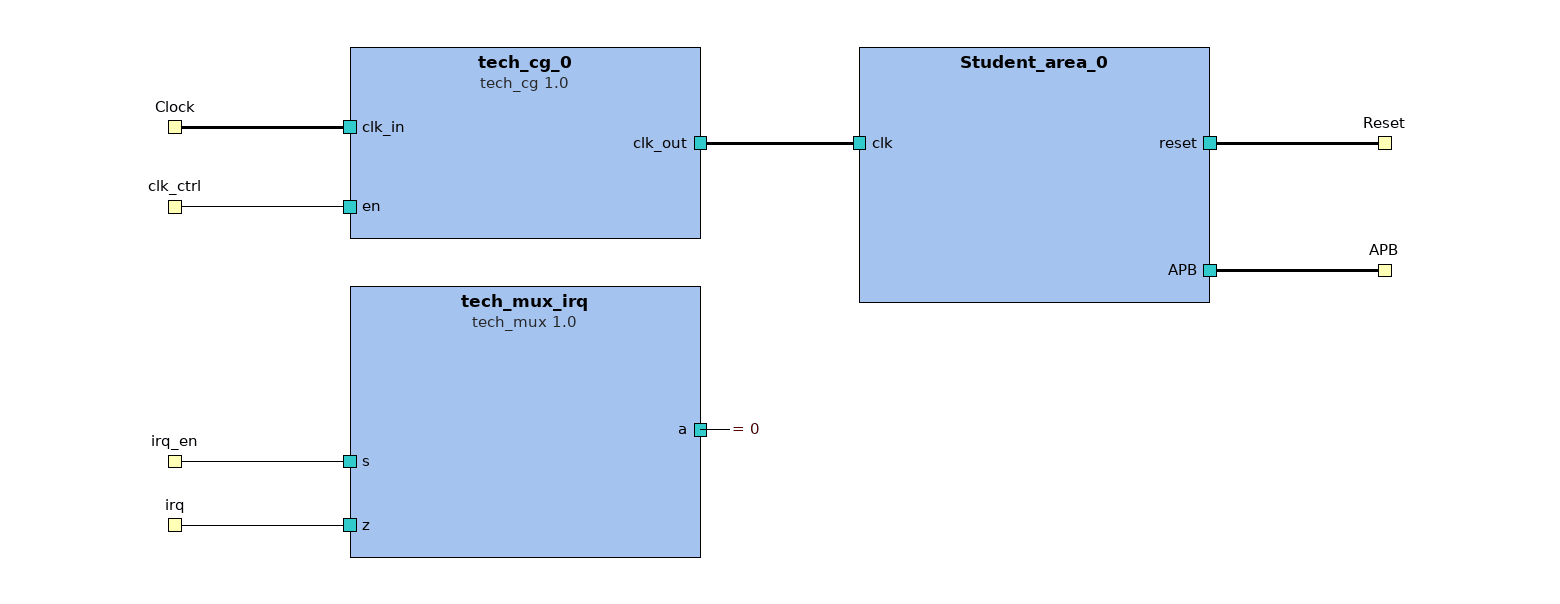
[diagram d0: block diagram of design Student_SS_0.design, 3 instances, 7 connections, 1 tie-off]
<?xml version="1.0" encoding="UTF-8"?>
<ipxact:design xmlns:xsi="http://www.w3.org/2001/XMLSchema-instance" xmlns:ipxact="http://www.accellera.org/XMLSchema/IPXACT/1685-2022" xmlns:kactus2="http://kactus2.cs.tut.fi" xsi:schemaLocation="http://www.accellera.org/XMLSchema/IPXACT/1685-2022 http://www.accellera.org/XMLSchema/IPXACT/1685-2022/index.xsd"><ipxact:vendor>tuni.fi</ipxact:vendor><ipxact:library>subsystem.wrapper</ipxact:library>
 <ipxact:name>Student_SS_0.design</ipxact:name><ipxact:version>1.0</ipxact:version><ipxact:componentInstances>
 <ipxact:componentInstance><ipxact:instanceName>Student_area_0</ipxact:instanceName><ipxact:componentRef vendor="" library="" name="" version=""/></ipxact:componentInstance>
 <ipxact:componentInstance><ipxact:instanceName>tech_cg_0</ipxact:instanceName><ipxact:componentRef vendor="tuni.fi" library="tech" name="tech_cg" version="1.0"/></ipxact:componentInstance>
 <ipxact:componentInstance><ipxact:instanceName>tech_mux_irq</ipxact:instanceName><ipxact:componentRef vendor="tuni.fi" library="tech" name="tech_mux" version="1.0"/></ipxact:componentInstance>
</ipxact:componentInstances><ipxact:interconnections>
 <ipxact:interconnection><ipxact:name>tech_cg_0_clk_in_to_Clock</ipxact:name><ipxact:activeInterface componentInstanceRef="tech_cg_0" busRef="clk_in"/><ipxact:hierInterface busRef="Clock"/></ipxact:interconnection>
 <ipxact:interconnection><ipxact:name>tech_cg_0_clk_out_to_Student_area_0_clk</ipxact:name><ipxact:activeInterface componentInstanceRef="tech_cg_0" busRef="clk_out"/><ipxact:activeInterface componentInstanceRef="Student_area_0" busRef="clk"/></ipxact:interconnection>
 <ipxact:interconnection><ipxact:name>Student_area_0_APB_to_APB</ipxact:name><ipxact:activeInterface componentInstanceRef="Student_area_0" busRef="APB"/><ipxact:hierInterface busRef="APB"/></ipxact:interconnection>
 <ipxact:interconnection><ipxact:name>Student_area_0_reset_to_Reset</ipxact:name><ipxact:activeInterface componentInstanceRef="Student_area_0" busRef="reset"/><ipxact:hierInterface busRef="Reset"/></ipxact:interconnection>
</ipxact:interconnections><ipxact:adHocConnections>
 <ipxact:adHocConnection><ipxact:name>tech_mux_irq_a_to_tiedValue</ipxact:name><ipxact:tiedValue>0</ipxact:tiedValue><ipxact:portReferences><ipxact:internalPortReference componentInstanceRef="tech_mux_irq" portRef="a"/></ipxact:portReferences></ipxact:adHocConnection>
 <ipxact:adHocConnection><ipxact:name>tech_mux_irq_s_to_irq_en</ipxact:name><ipxact:portReferences><ipxact:internalPortReference componentInstanceRef="tech_mux_irq" portRef="s"/><ipxact:externalPortReference portRef="irq_en"/></ipxact:portReferences></ipxact:adHocConnection>
 <ipxact:adHocConnection><ipxact:name>tech_mux_irq_z_to_irq</ipxact:name><ipxact:portReferences><ipxact:internalPortReference componentInstanceRef="tech_mux_irq" portRef="z"/><ipxact:externalPortReference portRef="irq"/></ipxact:portReferences></ipxact:adHocConnection>
 <ipxact:adHocConnection><ipxact:name>tech_cg_0_en_to_clk_ctrl</ipxact:name><ipxact:portReferences><ipxact:internalPortReference componentInstanceRef="tech_cg_0" portRef="en"/><ipxact:externalPortReference portRef="clk_ctrl"/></ipxact:portReferences></ipxact:adHocConnection>
</ipxact:adHocConnections></ipxact:design>

